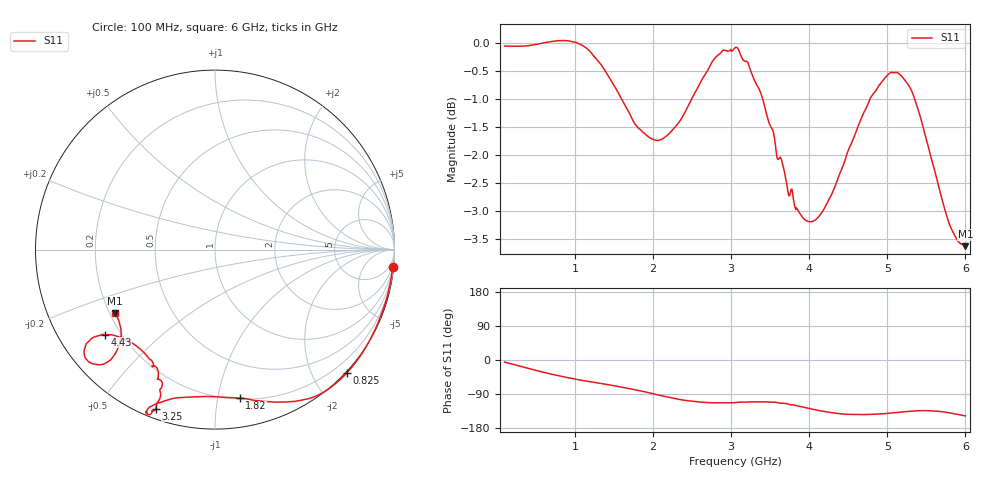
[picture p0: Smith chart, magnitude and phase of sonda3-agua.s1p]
! COPPER MOUNTAIN TECHNOLOGIES, R60, 23103002, 24.3.3/3.0
! Date: 24/6/2026 15:49:36
! Data: Format [Calibration Info]
! Frequency		S11: Mag/Ang F1
# HZ S MA R 50
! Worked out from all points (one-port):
!   1181 points, 100 MHz to 6 GHz, reference 50 ohm
!   lowest |S11| = -3.6 dB at 6 GHz (marker M1), VSWR 4.86, Z = 11.1 - j13.9 ohm
!   |S11| at or under -10 dB: nowhere
!   S11 on the Smith chart (normalised r, x): 100 MHz: 1, -20; 825 MHz: -0.02, -2.54; 1.82 GHz: 0.21, -1.16; 3.25 GHz: 0.04, -0.69; 4.43 GHz: 0.14, -0.33; 6 GHz: 0.22, -0.28
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1e8  0.9946 -5.6
4.2e8  0.9957 -23.2
6.25e8  1.002 -33.8
8.25e8  1.006 -43.0
8.4e8  1.006 -43.7
1.005e9  1.002 -50.5
1.17e9  0.9871 -56.5
1.575e9  0.8978 -70.7
1.82e9  0.8394 -80.5
2.315e9  0.8471 -103.2
2.525e9  0.9002 -109.3
2.73e9  0.9549 -112.7
3.05e9  0.991 -112.5
3.25e9  0.9451 -110.4
3.395e9  0.8966 -110.4
3.57e9  0.8087 -111.3
3.79e9  0.7325 -118.0
4.1e9  0.6972 -132.3
4.43e9  0.776 -142.4
4.525e9  0.8097 -143.6
4.77e9  0.8885 -143.8
4.93e9  0.9239 -142.1
5.11e9  0.9419 -138.8
5.265e9  0.9191 -135.9
5.435e9  0.8536 -133.5
5.665e9  0.7417 -135.5
5.805e9  0.6867 -139.8
6e9  0.6586 -147.6
